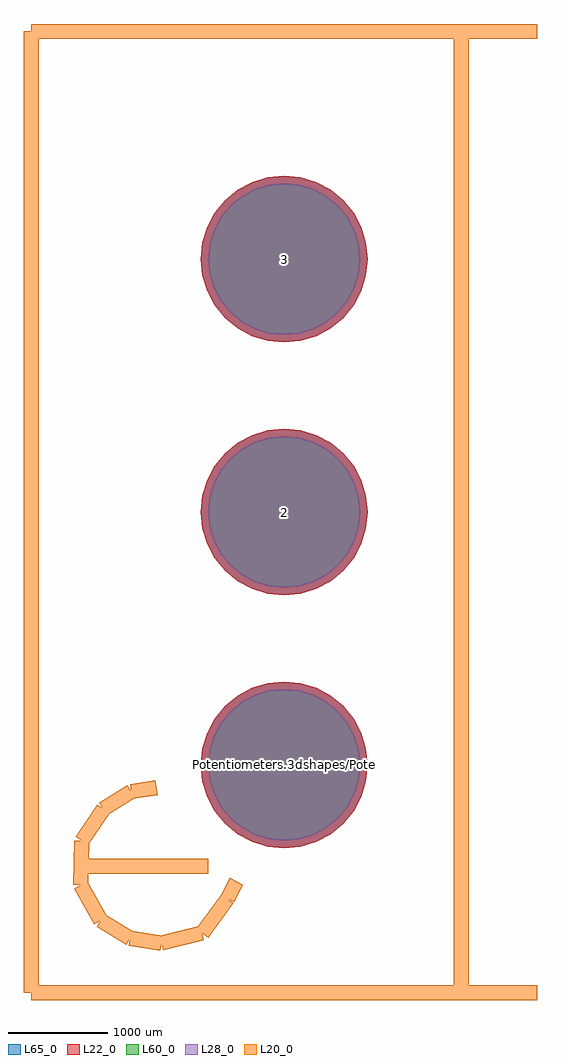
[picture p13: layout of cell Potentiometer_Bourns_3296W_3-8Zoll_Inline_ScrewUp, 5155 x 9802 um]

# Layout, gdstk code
import gdstk
lib = gdstk.Library(unit=1e-6, precision=1e-09)
def P(c, l, *ps):  # polygons
    for p in ps: c.add(gdstk.Polygon(p, *l))
L20_0 = (20, 0)
L22_0 = (22, 0)
L28_0 = (28, 0)
L60_0 = (60, 0)
L65_0 = (65, 0)

potentiometer_bourns_329 = lib.new_cell('Potentiometer_Bourns_3296W_3-8Zoll_Inline_ScrewUp')
P(potentiometer_bourns_329, L22_0, [(837,0),(820.917,163.291),(773.287,320.306),(695.94,465.012),(591.848,591.848),(465.012,695.94),(320.306,773.287),(163.291,820.917),(0,837),(-163.291,820.917),(-320.306,773.287),(-465.012,695.94),(-591.848,591.848),(-695.94,465.012),(-773.287,320.306),(-820.917,163.291),(-837,0),(-820.917,-163.291),(-773.287,-320.306),(-695.94,-465.012),(-591.848,-591.848),(-465.012,-695.94),(-320.306,-773.287),(-163.291,-820.917),(0,-837),(163.291,-820.917),(320.306,-773.287),(465.012,-695.94),(591.848,-591.848),(695.94,-465.012),(773.287,-320.306),(820.917,-163.291)],
  [(837,5080),(820.917,5243.291),(773.287,5400.306),(695.94,5545.012),(591.848,5671.848),(465.012,5775.94),(320.306,5853.287),(163.291,5900.917),(0,5917),(-163.291,5900.917),(-320.306,5853.287),(-465.012,5775.94),(-591.848,5671.848),(-695.94,5545.012),(-773.287,5400.306),(-820.917,5243.291),(-837,5080),(-820.917,4916.709),(-773.287,4759.694),(-695.94,4614.988),(-591.848,4488.152),(-465.012,4384.06),(-320.306,4306.713),(-163.291,4259.083),(0,4243),(163.291,4259.083),(320.306,4306.713),(465.012,4384.06),(591.848,4488.152),(695.94,4614.988),(773.287,4759.694),(820.917,4916.709)],
  [(837,2540),(820.917,2703.291),(773.287,2860.306),(695.94,3005.012),(591.848,3131.848),(465.012,3235.94),(320.306,3313.287),(163.291,3360.917),(0,3377),(-163.291,3360.917),(-320.306,3313.287),(-465.012,3235.94),(-591.848,3131.848),(-695.94,3005.012),(-773.287,2860.306),(-820.917,2703.291),(-837,2540),(-820.917,2376.709),(-773.287,2219.694),(-695.94,2074.988),(-591.848,1948.152),(-465.012,1844.06),(-320.306,1766.713),(-163.291,1719.083),(0,1703),(163.291,1719.083),(320.306,1766.713),(465.012,1844.06),(591.848,1948.152),(695.94,2074.988),(773.287,2219.694),(820.917,2376.709)])
P(potentiometer_bourns_329, L28_0, [(762,0),(747.358,148.659),(703.996,291.605),(633.58,423.345),(538.815,538.815),(423.345,633.58),(291.605,703.996),(148.659,747.358),(0,762),(-148.659,747.358),(-291.605,703.996),(-423.345,633.58),(-538.815,538.815),(-633.58,423.345),(-703.996,291.605),(-747.358,148.659),(-762,0),(-747.358,-148.659),(-703.996,-291.605),(-633.58,-423.345),(-538.815,-538.815),(-423.345,-633.58),(-291.605,-703.996),(-148.659,-747.358),(0,-762),(148.659,-747.358),(291.605,-703.996),(423.345,-633.58),(538.815,-538.815),(633.58,-423.345),(703.996,-291.605),(747.358,-148.659)],
  [(762,5080),(747.358,5228.659),(703.996,5371.605),(633.58,5503.345),(538.815,5618.815),(423.345,5713.58),(291.605,5783.996),(148.659,5827.358),(0,5842),(-148.659,5827.358),(-291.605,5783.996),(-423.345,5713.58),(-538.815,5618.815),(-633.58,5503.345),(-703.996,5371.605),(-747.358,5228.659),(-762,5080),(-747.358,4931.341),(-703.996,4788.395),(-633.58,4656.655),(-538.815,4541.185),(-423.345,4446.42),(-291.605,4376.004),(-148.659,4332.642),(0,4318),(148.659,4332.642),(291.605,4376.004),(423.345,4446.42),(538.815,4541.185),(633.58,4656.655),(703.996,4788.395),(747.358,4931.341)],
  [(762,2540),(747.358,2688.659),(703.996,2831.605),(633.58,2963.345),(538.815,3078.815),(423.345,3173.58),(291.605,3243.996),(148.659,3287.358),(0,3302),(-148.659,3287.358),(-291.605,3243.996),(-423.345,3173.58),(-538.815,3078.815),(-633.58,2963.345),(-703.996,2831.605),(-747.358,2688.659),(-762,2540),(-747.358,2391.341),(-703.996,2248.395),(-633.58,2116.655),(-538.815,2001.185),(-423.345,1906.42),(-291.605,1836.004),(-148.659,1792.642),(0,1778),(148.659,1792.642),(291.605,1836.004),(423.345,1906.42),(538.815,2001.185),(633.58,2116.655),(703.996,2248.395),(747.358,2391.341)])
P(potentiometer_bourns_329, L60_0, [(762,0),(747.358,148.659),(703.996,291.605),(633.58,423.345),(538.815,538.815),(423.345,633.58),(291.605,703.996),(148.659,747.358),(0,762),(-148.659,747.358),(-291.605,703.996),(-423.345,633.58),(-538.815,538.815),(-633.58,423.345),(-703.996,291.605),(-747.358,148.659),(-762,0),(-747.358,-148.659),(-703.996,-291.605),(-633.58,-423.345),(-538.815,-538.815),(-423.345,-633.58),(-291.605,-703.996),(-148.659,-747.358),(0,-762),(148.659,-747.358),(291.605,-703.996),(423.345,-633.58),(538.815,-538.815),(633.58,-423.345),(703.996,-291.605),(747.358,-148.659)],
  [(762,5080),(747.358,5228.659),(703.996,5371.605),(633.58,5503.345),(538.815,5618.815),(423.345,5713.58),(291.605,5783.996),(148.659,5827.358),(0,5842),(-148.659,5827.358),(-291.605,5783.996),(-423.345,5713.58),(-538.815,5618.815),(-633.58,5503.345),(-703.996,5371.605),(-747.358,5228.659),(-762,5080),(-747.358,4931.341),(-703.996,4788.395),(-633.58,4656.655),(-538.815,4541.185),(-423.345,4446.42),(-291.605,4376.004),(-148.659,4332.642),(0,4318),(148.659,4332.642),(291.605,4376.004),(423.345,4446.42),(538.815,4541.185),(633.58,4656.655),(703.996,4788.395),(747.358,4931.341)],
  [(762,2540),(747.358,2688.659),(703.996,2831.605),(633.58,2963.345),(538.815,3078.815),(423.345,3173.58),(291.605,3243.996),(148.659,3287.358),(0,3302),(-148.659,3287.358),(-291.605,3243.996),(-423.345,3173.58),(-538.815,3078.815),(-633.58,2963.345),(-703.996,2831.605),(-747.358,2688.659),(-762,2540),(-747.358,2391.341),(-703.996,2248.395),(-633.58,2116.655),(-538.815,2001.185),(-423.345,1906.42),(-291.605,1836.004),(-148.659,1792.642),(0,1778),(148.659,1792.642),(291.605,1836.004),(423.345,1906.42),(538.815,2001.185),(633.58,2116.655),(703.996,2248.395),(747.358,2391.341)])
P(potentiometer_bourns_329, L65_0, [(837,0),(820.917,163.291),(773.287,320.306),(695.94,465.012),(591.848,591.848),(465.012,695.94),(320.306,773.287),(163.291,820.917),(0,837),(-163.291,820.917),(-320.306,773.287),(-465.012,695.94),(-591.848,591.848),(-695.94,465.012),(-773.287,320.306),(-820.917,163.291),(-837,0),(-820.917,-163.291),(-773.287,-320.306),(-695.94,-465.012),(-591.848,-591.848),(-465.012,-695.94),(-320.306,-773.287),(-163.291,-820.917),(0,-837),(163.291,-820.917),(320.306,-773.287),(465.012,-695.94),(591.848,-591.848),(695.94,-465.012),(773.287,-320.306),(820.917,-163.291)],
  [(837,5080),(820.917,5243.291),(773.287,5400.306),(695.94,5545.012),(591.848,5671.848),(465.012,5775.94),(320.306,5853.287),(163.291,5900.917),(0,5917),(-163.291,5900.917),(-320.306,5853.287),(-465.012,5775.94),(-591.848,5671.848),(-695.94,5545.012),(-773.287,5400.306),(-820.917,5243.291),(-837,5080),(-820.917,4916.709),(-773.287,4759.694),(-695.94,4614.988),(-591.848,4488.152),(-465.012,4384.06),(-320.306,4306.713),(-163.291,4259.083),(0,4243),(163.291,4259.083),(320.306,4306.713),(465.012,4384.06),(591.848,4488.152),(695.94,4614.988),(773.287,4759.694),(820.917,4916.709)],
  [(837,2540),(820.917,2703.291),(773.287,2860.306),(695.94,3005.012),(591.848,3131.848),(465.012,3235.94),(320.306,3313.287),(163.291,3360.917),(0,3377),(-163.291,3360.917),(-320.306,3313.287),(-465.012,3235.94),(-591.848,3131.848),(-695.94,3005.012),(-773.287,2860.306),(-820.917,2703.291),(-837,2540),(-820.917,2376.709),(-773.287,2219.694),(-695.94,2074.988),(-591.848,1948.152),(-465.012,1844.06),(-320.306,1766.713),(-163.291,1719.083),(0,1703),(163.291,1719.083),(320.306,1766.713),(465.012,1844.06),(591.848,1948.152),(695.94,2074.988),(773.287,2219.694),(820.917,2376.709)])
potentiometer_bourns_329.add(gdstk.FlexPath([(0,-2286),(-1270,-2286)], 149.998, ends="flush", simple_path=True, layer=20, datatype=0))  # L20_0
potentiometer_bourns_329.add(gdstk.FlexPath([(2540,-2286),(0,-2286)], 149.998, ends="flush", simple_path=True, layer=20, datatype=0))  # L20_0
potentiometer_bourns_329.add(gdstk.FlexPath([(-2540,7366),(2540,7366)], 149.998, ends="flush", simple_path=True, layer=20, datatype=0))  # L20_0
potentiometer_bourns_329.add(gdstk.FlexPath([(-2540,-2286),(-2540,7366)], 149.998, ends="flush", simple_path=True, layer=20, datatype=0))  # L20_0
potentiometer_bourns_329.add(gdstk.FlexPath([(-1270,-2286),(-2540,-2286)], 149.998, ends="flush", simple_path=True, layer=20, datatype=0))  # L20_0
potentiometer_bourns_329.add(gdstk.FlexPath([(1778,7366),(1778,-2286)], 149.998, ends="flush", simple_path=True, layer=20, datatype=0))  # L20_0
potentiometer_bourns_329.add(gdstk.FlexPath([(-571.5,-1346.2),(-482.6,-1168.4)], 149.998, ends="flush", simple_path=True, layer=20, datatype=0))  # L20_0
potentiometer_bourns_329.add(gdstk.FlexPath([(-825.5,-1689.1),(-571.5,-1346.2)], 149.998, ends="flush", simple_path=True, layer=20, datatype=0))  # L20_0
potentiometer_bourns_329.add(gdstk.FlexPath([(-1231.9,-1790.7),(-825.5,-1689.1)], 149.998, ends="flush", simple_path=True, layer=20, datatype=0))  # L20_0
potentiometer_bourns_329.add(gdstk.FlexPath([(-1549.4,-1739.9),(-1231.9,-1790.7)], 149.998, ends="flush", simple_path=True, layer=20, datatype=0))  # L20_0
potentiometer_bourns_329.add(gdstk.FlexPath([(-1841.5,-1562.1),(-1549.4,-1739.9)], 149.998, ends="flush", simple_path=True, layer=20, datatype=0))  # L20_0
potentiometer_bourns_329.add(gdstk.FlexPath([(-2044.7,-1206.5),(-1841.5,-1562.1)], 149.998, ends="flush", simple_path=True, layer=20, datatype=0))  # L20_0
potentiometer_bourns_329.add(gdstk.FlexPath([(-2032,-762),(-2044.7,-1206.5)], 149.998, ends="flush", simple_path=True, layer=20, datatype=0))  # L20_0
potentiometer_bourns_329.add(gdstk.FlexPath([(-1816.1,-444.5),(-2032,-762)], 149.998, ends="flush", simple_path=True, layer=20, datatype=0))  # L20_0
potentiometer_bourns_329.add(gdstk.FlexPath([(-1536.7,-266.7),(-1816.1,-444.5)], 149.998, ends="flush", simple_path=True, layer=20, datatype=0))  # L20_0
potentiometer_bourns_329.add(gdstk.FlexPath([(-1282.7,-228.6),(-1536.7,-266.7)], 149.998, ends="flush", simple_path=True, layer=20, datatype=0))  # L20_0
potentiometer_bourns_329.add(gdstk.FlexPath([(-2032,-1016),(-762,-1016)], 149.998, ends="flush", simple_path=True, layer=20, datatype=0))  # L20_0
potentiometer_bourns_329.add(gdstk.Label('Potentiometers.3dshapes/Potentiometer_Bourns_3296W_3-8Zoll_Inline_ScrewUp.wrl', (0,0), layer=12, texttype=0))
potentiometer_bourns_329.add(gdstk.Label('1', (0,0), layer=28, texttype=0))
potentiometer_bourns_329.add(gdstk.Label('3', (0,5080), layer=28, texttype=0))
potentiometer_bourns_329.add(gdstk.Label('2', (0,2540), layer=28, texttype=0))
potentiometer_bourns_329.add(gdstk.Label('type', (1270,-5080), layer=9, texttype=0))
potentiometer_bourns_329.add(gdstk.Label('devicename', (0,10160), layer=9, texttype=0))

lib.write_gds('Potentiometer_Bourns_3296W_3-8Zoll_Inline_ScrewUp.gds')
